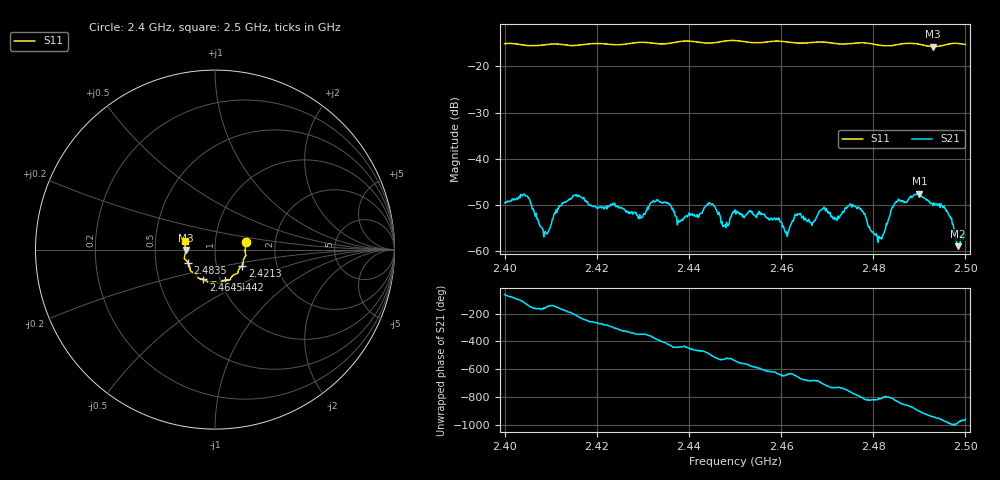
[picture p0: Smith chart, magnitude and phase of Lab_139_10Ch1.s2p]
# Hz S RI R 50
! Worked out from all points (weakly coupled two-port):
!   601 points, 2.4 GHz to 2.5 GHz, reference 50 ohm
!   highest |S21| = -47.49 dB at 2.49 GHz (marker M1); lowest = -58.9 dB at 2.4983 GHz (marker M2)
!   lowest |S11| = -15.7 dB at 2.493 GHz (marker M3), VSWR 1.39, Z = 36 - j0.208 ohm
!   |S11| at or under -10 dB: start of sweep to end of sweep
!   S12 and S22 are empty: the file has one direction only
!   S11 on the Smith chart (normalised r, x): 2.4 GHz: 1.41, +0.12; 2.4213 GHz: 1.33, -0.25; 2.4442 GHz: 1.05, -0.37; 2.4645 GHz: 0.83, -0.29; 2.4835 GHz: 0.73, -0.11; 2.5 GHz: 0.71, +0.07
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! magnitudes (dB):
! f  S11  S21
! 2.4 GHz  -15.1  -49.5
! 2.4047 GHz  -15.4  -48.0
! 2.409 GHz  -15.3  -56.0
! 2.4167 GHz  -15.3  -48.2
! 2.4213 GHz  -15.1  -50.4
! 2.4333 GHz  -15.1  -49.1
! 2.438 GHz  -14.6  -53.6
! 2.4442 GHz  -15.0  -49.8
! 2.4475 GHz  -14.6  -54.4
! 2.45 GHz  -14.4  -51.0
! 2.4612 GHz  -14.7  -55.8
! 2.4645 GHz  -15.0  -52.8
! 2.4667 GHz  -14.8  -54.4
! 2.4755 GHz  -15.0  -49.9
! 2.4813 GHz  -15.4  -56.9
! 2.4833 GHz  -15.6  -52.9
! 2.4835 GHz  -15.5  -52.6
! 2.49 GHz  -15.2  -47.5
! 2.493 GHz  -15.7  -50.1
! 2.4958 GHz  -15.3  -51.3
! 2.4983 GHz  -15.0  -58.9
! 2.5 GHz  -15.3  -56.5
